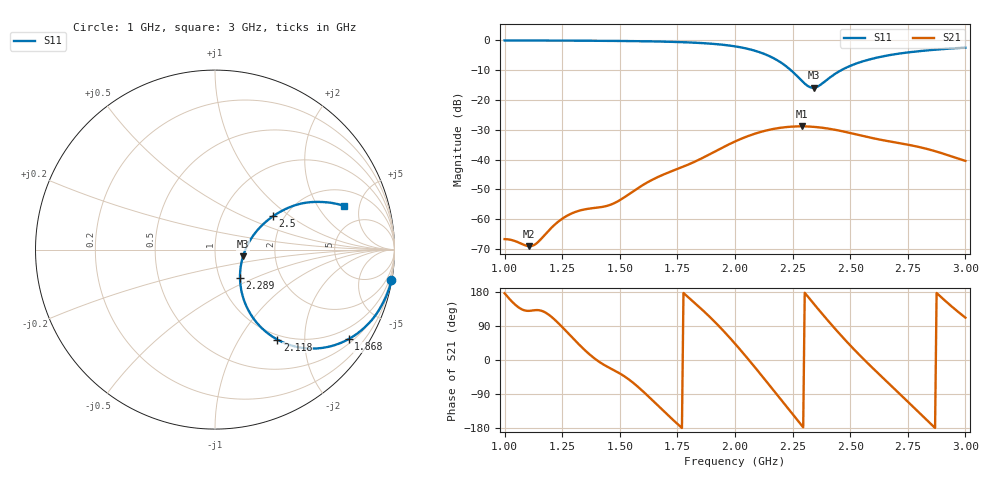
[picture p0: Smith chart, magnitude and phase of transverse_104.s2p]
! TOUCHSTONE file generated by CST MICROWAVE STUDIO
! Date and time: Tue Mar 11 13:56:43 2025
! Project name: transverse.cst
! Parameters = {Fracture=5; B=10; D=160; F=25; Feed=2.85625; L=100; M=20; R=0.384908; S=2; Theta=90; length=57.125; wave=114.25}
! Header version: 2024
! Port assignment regex: !\s*Touchstone port\s*([0-9]+)\s*=\s*(CST MWS port|CST DES external port|CST DES block port)\s*(.+)\s* \(\"(.*)\"\)(\s*mode\s*([0-9]+))?.*
! Touchstone port assignment:
! Touchstone port 1 = CST MWS port 1 ("")
! Touchstone port 2 = CST MWS port 2 ("")
# GHz S MA R 50
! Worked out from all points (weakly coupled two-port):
!   305 points, 1 GHz to 3 GHz, reference 50 ohm
!   highest |S21| = -28.83 dB at 2.289 GHz (marker M1); lowest = -69.0 dB at 1.105 GHz (marker M2)
!   lowest |S11| = -15.9 dB at 2.342 GHz (marker M3), VSWR 1.38, Z = 68.3 - j5.19 ohm
!   |S11| at or under -10 dB: 2.243 GHz to 2.461 GHz (218.3 MHz wide, 9.28 % of centre)
!   S12 and S22 are empty: the file has one direction only
!   S11 on the Smith chart (normalised r, x): 1 GHz: 0, -12; 1.868 GHz: 0.63, -3.17; 2.118 GHz: 0.93, -1.48; 2.289 GHz: 1.25, -0.41; 2.5 GHz: 1.75, +0.76; 3 GHz: 3.07, +3.51
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1  0.9976 -9.8  0.0004651 176.2  0 0.0  0 0.0
1.10526  0.9963 -11.2  0.0003542 129.7  0 0.0  0 0.0
1.13816  0.9956 -11.7  0.0003938 131.7  0 0.0  0 0.0
1.21053  0.9935 -12.9  0.0007675 110.2  0 0.0  0 0.0
1.25  0.9922 -13.6  0.001021 87.0  0 0.0  0 0.0
1.33553  0.9888 -15.2  0.001432 33.4  0 0.0  0 0.0
1.46711  0.9806 -18.1  0.0018 -24.6  0 0.0  0 0.0
1.67105  0.9574 -24.2  0.005237 -123.5  0 0.0  0 0.0
1.86842  0.896 -33.8  0.01115 126.5  0 0.0  0 0.0
2  0.7942 -43.9  0.02017 43.1  0 0.0  0 0.0
2.11842  0.6107 -55.3  0.02966 -43.1  0 0.0  0 0.0
2.20395  0.4135 -61.1  0.03453 -107.9  0 0.0  0 0.0
2.28947  0.2113 -48.7  0.03619 -172.7  0 0.0  0 0.0
2.31579  0.1723 -33.8  0.03599 167.6  0 0.0  0 0.0
2.33553  0.1605 -18.6  0.03563 153.0  0 0.0  0 0.0
2.34211  0.1605 -13.3  0.03548 148.2  0 0.0  0 0.0
2.36842  0.1773 5.2  0.03468 129.0  0 0.0  0 0.0
2.41447  0.2425 22.6  0.0327 96.2  0 0.0  0 0.0
2.5  0.3737 29.9  0.02799 38.6  0 0.0  0 0.0
2.67105  0.5668 27.4  0.02022 -63.9  0 0.0  0 0.0
2.82895  0.6769 22.9  0.01529 -156.5  0 0.0  0 0.0
3  0.7582 18.7  0.00954 111.7  0 0.0  0 0.0
